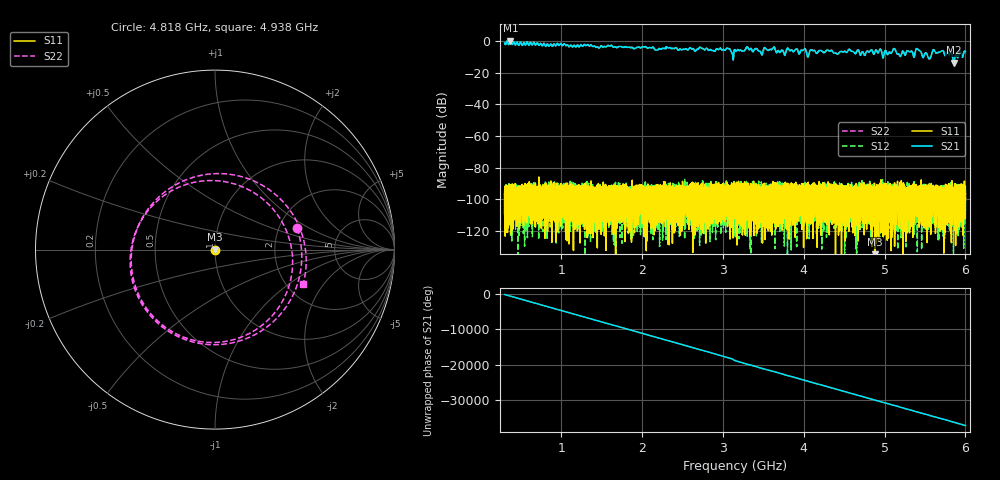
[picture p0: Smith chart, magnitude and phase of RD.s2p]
!Agilent Technologies,N5230C,SG49000117,A.08.50.07
!Agilent N5230C: A.08.50.07
!Date: Sunday, March 17, 2024 03:19:45
!Correction: S11(Off)
!S21(Off)
!S12(Off)
!S22(Off)
!S2P File: Measurements: S11, S21, S12, S22:
# Hz S  RI  R 50
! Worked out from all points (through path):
!   20001 points, 300 MHz to 6 GHz, reference 50 ohm
!   highest |S21| = 0.27 dB at 372.1 MHz (marker M1); lowest = -13.7 dB at 5.855 GHz (marker M2)
!   lowest |S11| = -138.4 dB at 4.878 GHz (marker M3), VSWR 1.00, Z = 50 - j8.05e-06 ohm
!   |S11| at or under -10 dB: start of sweep to end of sweep
!   |S22| runs from -13.7 to 0.3 dB; largest |S21 - S12| = 1
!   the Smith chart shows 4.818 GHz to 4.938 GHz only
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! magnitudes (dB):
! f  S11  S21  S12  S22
! 300 MHz  -95.0  -1.3  -96.8  -1.3
! 372.1 MHz  -93.4  0.3  -99.1  0.3
! 1.25 GHz  -95.2  -2.6  -101.2  -2.5
! 2.2 GHz  -99.2  -5.3  -97.9  -5.3
! 3.064 GHz  -103.9  -4.8  -108.0  -4.8
! 3.15 GHz  -93.0  -5.6  -96.1  -5.6
! 3.307 GHz  -96.7  -4.0  -105.2  -4.0
! 3.469 GHz  -102.8  -7.1  -96.1  -7.1
! 3.618 GHz  -97.3  -4.5  -103.3  -4.5
! 3.757 GHz  -99.5  -8.2  -107.5  -8.1
! 4.1 GHz  -93.2  -5.8  -91.3  -5.7
! 4.878 GHz  -138.4  -7.3  -103.6  -7.2
! 5.05 GHz  -114.4  -7.7  -96.5  -7.7
! 5.118 GHz  -101.6  -4.9  -93.5  -4.8
! 5.179 GHz  -117.1  -8.5  -95.4  -8.5
! 5.354 GHz  -100.0  -8.8  -97.8  -8.8
! 5.411 GHz  -103.1  -5.3  -96.0  -5.3
! 5.554 GHz  -112.8  -11.4  -98.1  -11.4
! 5.607 GHz  -92.6  -5.5  -97.4  -5.5
! 5.706 GHz  -98.4  -6.3  -98.0  -6.3
! 5.855 GHz  -104.4  -13.7  -98.0  -13.7
! 6 GHz  -100.7  -6.7  -102.6  -6.7
